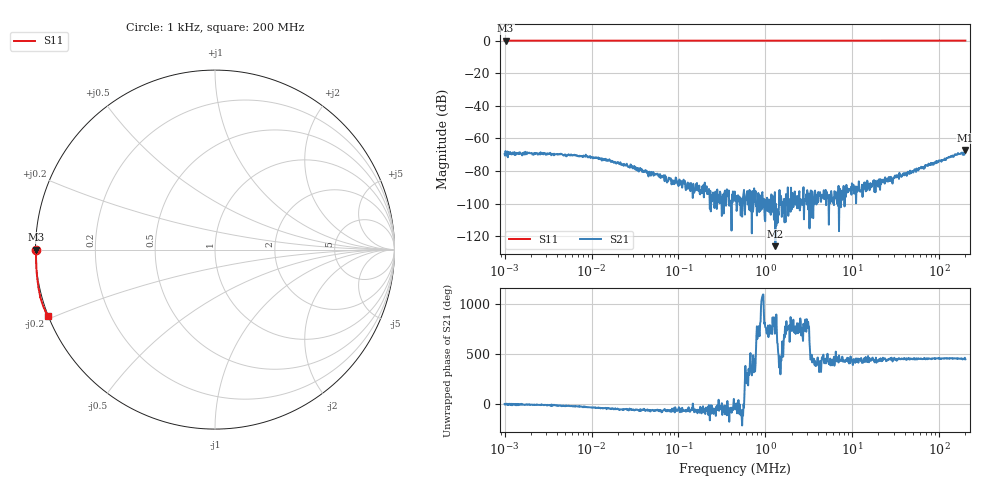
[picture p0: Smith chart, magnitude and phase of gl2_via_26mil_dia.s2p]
! ListType=Log
# MHZ S RI R 50
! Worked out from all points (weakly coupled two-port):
!   1000 points, 1 kHz to 200 MHz, reference 50 ohm
!   highest |S21| = -67.12 dB at 200 MHz (marker M1); lowest = -126.0 dB at 1.303 MHz (marker M2)
!   lowest |S11| = 0.0 dB at 1.025 kHz (marker M3), VSWR 548.53, Z = 0.0912 + j0.0124 ohm
!   |S11| at or under -10 dB: nowhere
!   S12 and S22 are empty: the file has one direction only
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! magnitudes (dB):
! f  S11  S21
! 1 kHz  0.0  -69.5
! 1.025 kHz  0.0  -67.7
! 1.934 kHz  0.0  -68.9
! 4.333 kHz  0.0  -69.8
! 5.017 kHz  0.0  -69.9
! 7.694 kHz  0.0  -70.7
! 9.019 kHz  0.0  -70.9
! 15.44 kHz  0.0  -73.5
! 26.11 kHz  0.0  -77.1
! 29.5 kHz  0.0  -77.0
! 33.75 kHz  0.0  -79.7
! 40.53 kHz  0.0  -80.3
! 58.48 kHz  0.0  -82.8
! 450 kHz  0.0  -98.4
! 1.303 MHz  0.0  -126.0
! 3.42 MHz  0.0  -96.2
! 26.31 MHz  0.0  -83.6
! 50.9 MHz  0.0  -80.0
! 112.6 MHz  0.1  -73.1
! 158.6 MHz  0.1  -69.9
! 185.9 MHz  0.0  -70.0
! 200 MHz  0.0  -67.1
